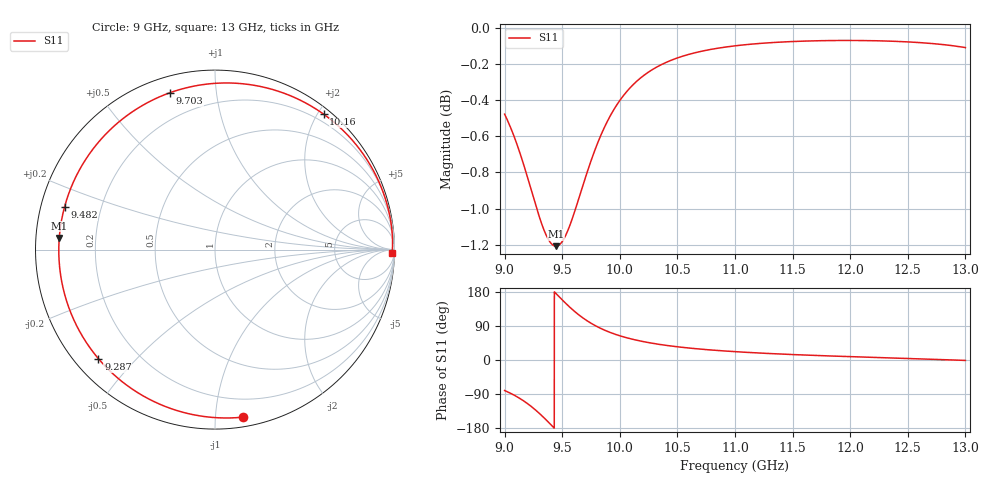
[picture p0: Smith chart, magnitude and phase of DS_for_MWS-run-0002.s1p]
! TOUCHSTONE file generated by CST DESIGN STUDIO
! Date and time: Tue Feb  4 14:00:10 2025
! Project name: C:\Work\MatlabApps\UnitCellOptimizationMatlab\CST\unitcell.cst
! Tree item: Tasks\Sweep1\SPara1\S-Parameters
! Header version: 2024
! Port assignment regex: !\s*Touchstone port\s*([0-9]+)\s*=\s*(CST MWS port|CST DES external port|CST DES block port)\s*(.+)\s* \(\"(.*)\"\)(\s*mode\s*([0-9]+))?.*
! Touchstone port assignment:
! Touchstone port 1 = CST DES external port 1 ("")
# GHz S MA R 50
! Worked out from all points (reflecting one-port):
!   4001 points, 9 GHz to 13 GHz, reference 50 ohm
!   lowest |S11| = -1.2 dB at 9.445 GHz (marker M1), VSWR 14.40, Z = 3.48 + j1.85 ohm
!   phase of S11 starts at -81 deg and turns -281 deg over the sweep
!   S11 on the Smith chart (normalised r, x): 9 GHz: 0.07, -1.18; 9.287 GHz: 0.07, -0.39; 9.482 GHz: 0.07, +0.14; 9.703 GHz: 0.07, +0.75; 10.16 GHz: 0.09, +2.08; 13 GHz: 47, -72
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9  0.9464 -80.6
9.088  0.932 -93.6
9.16  0.9176 -106.9
9.225  0.9032 -121.1
9.287  0.8895 -136.9
9.331  0.881 -149.2
9.371  0.8749 -161.2
9.408  0.8714 -172.6
9.445  0.8701 175.7
9.482  0.8713 164.2
9.5  0.8727 158.6
9.552  0.8793 143.3
9.601  0.8881 129.9
9.651  0.8984 117.5
9.703  0.9093 106.1
9.771  0.9227 93.4
9.85  0.936 81.2
9.923  0.9461 72.0
10  0.9547 63.9
10.161  0.9673 51.2
10.315  0.975 42.5
10.5  0.9809 34.9
10.723  0.9853 28.1
11  0.9885 22.0
11.5  0.9912 14.4
12  0.9918 8.8
12.5  0.9909 4.0
13  0.9874 -1.1
